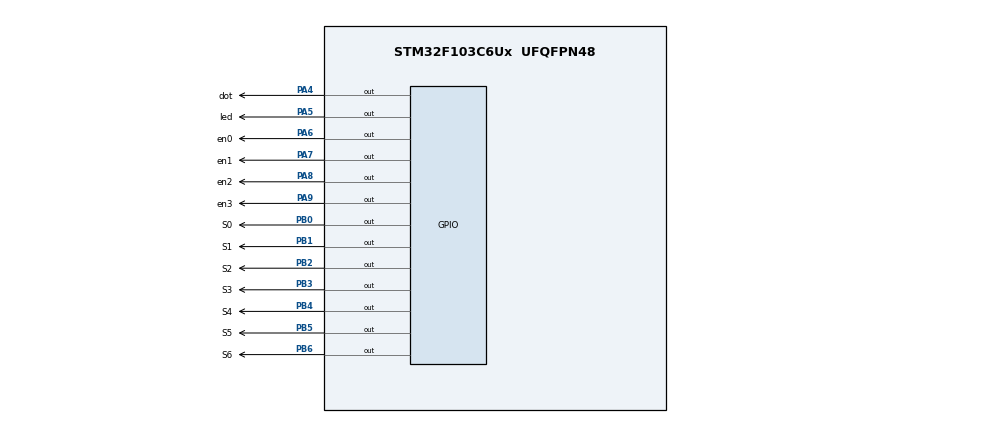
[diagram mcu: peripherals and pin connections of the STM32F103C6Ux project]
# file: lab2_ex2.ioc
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Mcu.Family=STM32F1
Mcu.Name=STM32F103C6Ux
Mcu.Package=UFQFPN48
NVIC.PriorityGroup=NVIC_PRIORITYGROUP_4
NVIC.TIM2_IRQn=true\:0\:0\:false\:false\:true\:true\:true
PA4.GPIO_Label=dot
PA4.Signal=GPIO_Output
PA5.GPIO_Label=led
PA5.Signal=GPIO_Output
PA6.GPIO_Label=en0
PA6.Signal=GPIO_Output
PA7.GPIO_Label=en1
PA7.Signal=GPIO_Output
PA8.GPIO_Label=en2
PA8.Signal=GPIO_Output
PA9.GPIO_Label=en3
PA9.Signal=GPIO_Output
PB0.GPIO_Label=S0
PB0.Signal=GPIO_Output
PB1.GPIO_Label=S1
PB1.Signal=GPIO_Output
PB2.GPIO_Label=S2
PB2.Signal=GPIO_Output
PB3.GPIO_Label=S3
PB3.Signal=GPIO_Output
PB4.GPIO_Label=S4
PB4.Signal=GPIO_Output
PB5.GPIO_Label=S5
PB5.Signal=GPIO_Output
PB6.GPIO_Label=S6
PB6.Signal=GPIO_Output
ProjectManager.HeapSize=0x200
ProjectManager.StackSize=0x400
ProjectManager.TargetToolchain=STM32CubeIDE
RCC.APB1Freq_Value=8000000
RCC.APB2Freq_Value=8000000
TIM2.Period=9
TIM2.Prescaler=7999
VP_SYS_VS_ND.Mode=No_Debug
VP_TIM2_VS_ClockSourceINT.Mode=Internal
board=custom

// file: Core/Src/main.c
/* USER CODE BEGIN Header */
/**
  ******************************************************************************
  * @file           : main.c
  * @brief          : Main program body
  ******************************************************************************
  * @attention
  *
  * <h2><center>&copy; Copyright (c) 2022 STMicroelectronics.
  * All rights reserved.</center></h2>
  *
  * This software component is licensed by ST under BSD 3-Clause license,
  * the "License"; You may not use this file except in compliance with the
  * License. You may obtain a copy of the License at:
  *                        opensource.org/licenses/BSD-3-Clause
  *
  ******************************************************************************
  */
/* USER CODE END Header */
#include "main.h"

TIM_HandleTypeDef htim2;

void SystemClock_Config(void);
static void MX_GPIO_Init(void);
static void MX_TIM2_Init(void);

int main(void)
{

  /* MCU Configuration--------------------------------------------------------*/

  /* Reset of all peripherals, Initializes the Flash interface and the Systick. */
  HAL_Init();

  /* Configure the system clock */
  SystemClock_Config();

  /* Initialize all configured peripherals */
  MX_GPIO_Init();
  MX_TIM2_Init();
  /* USER CODE BEGIN 2 */
  HAL_TIM_Base_Start_IT(& htim2);
  /* USER CODE END 2 */

  /* Infinite loop */
  while (1)
  {

  }
}

void SystemClock_Config(void)
{
  RCC_OscInitTypeDef RCC_OscInitStruct = {0};
  RCC_ClkInitTypeDef RCC_ClkInitStruct = {0};

  /** Initializes the RCC Oscillators according to the specified parameters
  * in the RCC_OscInitTypeDef structure.
  */
  RCC_OscInitStruct.OscillatorType = RCC_OSCILLATORTYPE_HSI;
  RCC_OscInitStruct.HSIState = RCC_HSI_ON;
  RCC_OscInitStruct.HSICalibrationValue = RCC_HSICALIBRATION_DEFAULT;
  RCC_OscInitStruct.PLL.PLLState = RCC_PLL_NONE;
  if (HAL_RCC_OscConfig(&RCC_OscInitStruct) != HAL_OK)
  {
    Error_Handler();
  }
  /** Initializes the CPU, AHB and APB buses clocks
  */
  RCC_ClkInitStruct.ClockType = RCC_CLOCKTYPE_HCLK|RCC_CLOCKTYPE_SYSCLK
                              |RCC_CLOCKTYPE_PCLK1|RCC_CLOCKTYPE_PCLK2;
  RCC_ClkInitStruct.SYSCLKSource = RCC_SYSCLKSOURCE_HSI;
  RCC_ClkInitStruct.AHBCLKDivider = RCC_SYSCLK_DIV1;
  RCC_ClkInitStruct.APB1CLKDivider = RCC_HCLK_DIV1;
  RCC_ClkInitStruct.APB2CLKDivider = RCC_HCLK_DIV1;

  if (HAL_RCC_ClockConfig(&RCC_ClkInitStruct, FLASH_LATENCY_0) != HAL_OK)
  {
    Error_Handler();
  }
}

static void MX_TIM2_Init(void)
{

  TIM_ClockConfigTypeDef sClockSourceConfig = {0};
  TIM_MasterConfigTypeDef sMasterConfig = {0};

  htim2.Instance = TIM2;
  htim2.Init.Prescaler = 7999;
  htim2.Init.CounterMode = TIM_COUNTERMODE_UP;
  htim2.Init.Period = 9;
  htim2.Init.ClockDivision = TIM_CLOCKDIVISION_DIV1;
  htim2.Init.AutoReloadPreload = TIM_AUTORELOAD_PRELOAD_DISABLE;
  if (HAL_TIM_Base_Init(&htim2) != HAL_OK)
  {
    Error_Handler();
  }
  sClockSourceConfig.ClockSource = TIM_CLOCKSOURCE_INTERNAL;
  if (HAL_TIM_ConfigClockSource(&htim2, &sClockSourceConfig) != HAL_OK)
  {
    Error_Handler();
  }
  sMasterConfig.MasterOutputTrigger = TIM_TRGO_RESET;
  sMasterConfig.MasterSlaveMode = TIM_MASTERSLAVEMODE_DISABLE;
  if (HAL_TIMEx_MasterConfigSynchronization(&htim2, &sMasterConfig) != HAL_OK)
  {
    Error_Handler();
  }

}

static void MX_GPIO_Init(void)
{
  GPIO_InitTypeDef GPIO_InitStruct = {0};

  /* GPIO Ports Clock Enable */
  __HAL_RCC_GPIOA_CLK_ENABLE();
  __HAL_RCC_GPIOB_CLK_ENABLE();

  /*Configure GPIO pin Output Level */
  HAL_GPIO_WritePin(GPIOA, dot_Pin|led_Pin|en0_Pin|en1_Pin
                          |en2_Pin|en3_Pin, GPIO_PIN_RESET);

  /*Configure GPIO pin Output Level */
  HAL_GPIO_WritePin(GPIOB, S0_Pin|S1_Pin|S2_Pin|S3_Pin
                          |S4_Pin|S5_Pin|S6_Pin, GPIO_PIN_RESET);

  /*Configure GPIO pins : dot_Pin led_Pin en0_Pin en1_Pin
                           en2_Pin en3_Pin */
  GPIO_InitStruct.Pin = dot_Pin|led_Pin|en0_Pin|en1_Pin
                          |en2_Pin|en3_Pin;
  GPIO_InitStruct.Mode = GPIO_MODE_OUTPUT_PP;
  GPIO_InitStruct.Pull = GPIO_NOPULL;
  GPIO_InitStruct.Speed = GPIO_SPEED_FREQ_LOW;
  HAL_GPIO_Init(GPIOA, &GPIO_InitStruct);

  /*Configure GPIO pins : S0_Pin S1_Pin S2_Pin S3_Pin
                           S4_Pin S5_Pin S6_Pin */
  GPIO_InitStruct.Pin = S0_Pin|S1_Pin|S2_Pin|S3_Pin
                          |S4_Pin|S5_Pin|S6_Pin;
  GPIO_InitStruct.Mode = GPIO_MODE_OUTPUT_PP;
  GPIO_InitStruct.Pull = GPIO_NOPULL;
  GPIO_InitStruct.Speed = GPIO_SPEED_FREQ_LOW;
  HAL_GPIO_Init(GPIOB, &GPIO_InitStruct);

}

/* USER CODE BEGIN 4 */
void display7SEG(int num) {
	int dis_arr[10] = { 0x3f, 0x06, 0x5b, 0x4f, 0x66, 0x6d, 0x7d, 0x07, 0x7f, 0x6f };
	int bit_var, var2;

	var2 = ~dis_arr[num];
	bit_var = var2 & 0x01;
	HAL_GPIO_WritePin(GPIOB, S0_Pin, bit_var);

	bit_var = (var2>>1) & 0x01;
	HAL_GPIO_WritePin(GPIOB, S1_Pin, bit_var);

	bit_var = (var2>>2) & 0x01;
	HAL_GPIO_WritePin(GPIOB, S2_Pin, bit_var);

	bit_var = (var2>>3) & 0x01;
	HAL_GPIO_WritePin(GPIOB, S3_Pin, bit_var);

	bit_var = (var2>>4) & 0x01;
	HAL_GPIO_WritePin(GPIOB, S4_Pin, bit_var);

	bit_var = (var2>>5) & 0x01;
	HAL_GPIO_WritePin(GPIOB, S5_Pin, bit_var);

	bit_var = (var2>>6) & 0x01;
	HAL_GPIO_WritePin(GPIOB, S6_Pin, bit_var);
}

int counter = 50;
int which_led = 0;
int counter_2_leds = 2;
void HAL_TIM_PeriodElapsedCallback(TIM_HandleTypeDef *htim) {
	counter--;
	if(counter <= 0) {
		counter = 50;
		counter_2_leds--;
		switch(which_led) {
		case 0:
			which_led = 1;
			display7SEG(1);
			HAL_GPIO_WritePin(GPIOA, en0_Pin, RESET);
			HAL_GPIO_WritePin(GPIOA, en1_Pin, SET);
			HAL_GPIO_WritePin(GPIOA, en2_Pin, SET);
			HAL_GPIO_WritePin(GPIOA, en3_Pin, SET);
			break;
		case 1:
			which_led = 2;
			display7SEG(2);
			HAL_GPIO_WritePin(GPIOA, en0_Pin, SET);
			HAL_GPIO_WritePin(GPIOA, en1_Pin, RESET);
			HAL_GPIO_WritePin(GPIOA, en2_Pin, SET);
			HAL_GPIO_WritePin(GPIOA, en3_Pin, SET);
			break;
		case 2:
			which_led = 3;
			display7SEG(3);
			HAL_GPIO_WritePin(GPIOA, en0_Pin, SET);
			HAL_GPIO_WritePin(GPIOA, en1_Pin, SET);
			HAL_GPIO_WritePin(GPIOA, en2_Pin, RESET);
			HAL_GPIO_WritePin(GPIOA, en3_Pin, SET);
			break;
		case 3:
			which_led = 0;
			display7SEG(0);
			HAL_GPIO_WritePin(GPIOA, en0_Pin, SET);
			HAL_GPIO_WritePin(GPIOA, en1_Pin, SET);
			HAL_GPIO_WritePin(GPIOA, en2_Pin, SET);
			HAL_GPIO_WritePin(GPIOA, en3_Pin, RESET);
			break;
		default:
			break;
		}
		if(counter_2_leds <= 0) {
			HAL_GPIO_TogglePin(GPIOA, dot_Pin);
			counter_2_leds = 2;
		}
	}
}
/* USER CODE END 4 */

void Error_Handler(void)
{
  __disable_irq();
  while (1)
  {
  }
}

/************************ (C) COPYRIGHT STMicroelectronics *****END OF FILE****/
